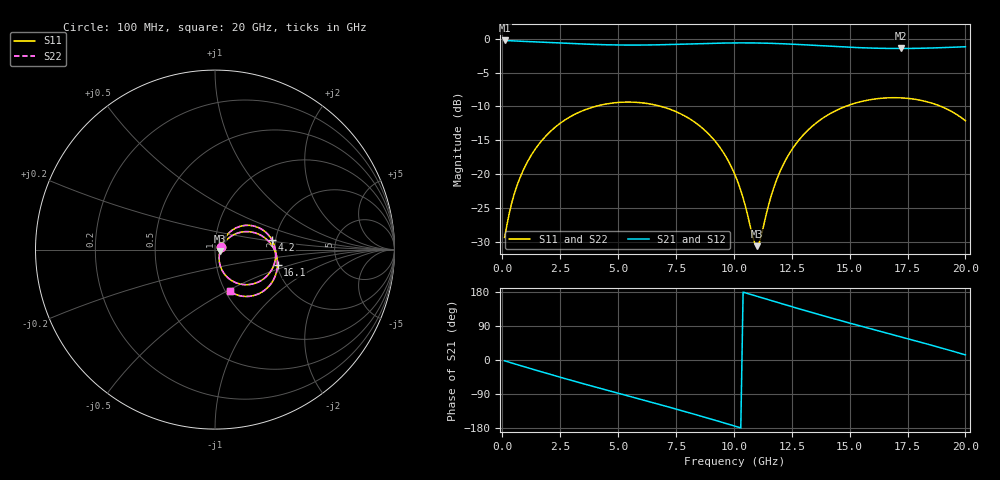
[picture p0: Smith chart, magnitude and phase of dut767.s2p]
! Touchstone file exported from HFSS 2026.1.0
!  File:  C:/ffzhzh/LocalFiles/Ansys_Project_Files/temp_train_TSV_RDL_767_1783208321_18472.aedt
!  Generated:  07:50:22 AM Jul  5, 2026
!  Design:  TSV_RDL
!  Project:  temp_train_TSV_RDL_767_1783208321_18472
! Variables:
!  h_bsmrdl = 2.51um
!  h_ox = 20um
!  h_rdl = 5um
!  h_sub = 75.7um
!  h_tmrdl = 3.51um
!  h_tsv = 75.7um
!  h_via = 3um
!  l_bsmrdl = 968.97um
!  l_sub = 5889.91um
!  l_tmrdl = 609.06um
!  m_sub = 200um
!  pitch = 35.56um
!  r_tsv = 5.4um
!  s_tmrdl = 10um
!  w_bsmrdl = 19.93um
!  w_sub = 500um
!  w_tmrdl = 28.99um
!  x_tsv_center1 = 623.555um
!  x_tsv_center2 = 1612.455um
!  x_tsv_center3 = 2250.505um
!  x_tsv_center4 = 3239.405um
!  x_tsv_center5 = 3877.455um
!  x_tsv_center6 = 4866.355um
# GHz S MA R 50.000000
! Terminal data exported
! Port[1] = TM_RDL1_1_T1
! Port[2] = TM_RDL5_1_T1
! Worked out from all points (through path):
!   200 points, 100 MHz to 20 GHz, reference 50 ohm
!   highest |S21| = -0.28 dB at 100 MHz (marker M1); lowest = -1.5 dB at 17.2 GHz (marker M2)
!   group delay of S21, straight-line fit = 48.1 ps
!   lowest |S11| = -30.6 dB at 11 GHz (marker M3), VSWR 1.06, Z = 52.9 - j0.81 ohm
!   |S11| at or under -10 dB: start of sweep to 4.009 GHz; 6.865 GHz to 14.82 GHz (7.951 GHz wide, 73.3 % of centre); 18.95 GHz to end of sweep
!   |S22| runs from -30.5 to -8.7 dB; largest |S21 - S12| = 6.9e-14
!   S11 on the Smith chart (normalised r, x): 100 MHz: 1.07, +0.03; 4.2 GHz: 1.92, +0.22; 16.1 GHz: 2.01, -0.41; 20 GHz: 1.05, -0.52
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0.1  0.03434 21.6  0.9684 -2.0  0.9684 -2.0  0.03434 21.6
! Gamma 0 0 0 0
! Port Impedance 50 0 50 0
0.6  0.07937 49.1  0.9586 -11.5  0.9586 -11.5  0.07938 49.1
1.3  0.1428 48.6  0.9479 -24.2  0.9479 -24.2  0.1428 48.6
2.3  0.2238 37.2  0.9314 -41.9  0.9314 -41.9  0.2238 37.2
3.5  0.2957 19.9  0.9118 -62.6  0.9118 -62.6  0.2957 19.9
4.2  0.3223 9.4  0.903 -74.4  0.903 -74.4  0.3223 9.4
5.5  0.3407 -10.3  0.8954 -95.9  0.8954 -95.9  0.3406 -10.3
6.8  0.3184 -30.1  0.9 -117.5  0.9 -117.5  0.3184 -30.0
8.8  0.2071 -59.9  0.9203 -152.0  0.9203 -152.0  0.207 -59.8
9.5  0.1491 -68.6  0.9263 -164.6  0.9263 -164.6  0.149 -68.4
10.1  0.09454 -72.1  0.9291 -175.5  0.9291 -175.5  0.09453 -71.9
10.9  0.03114 -32.3  0.9281 169.9  0.9281 169.9  0.03147 -31.9
11  0.02962 -15.0  0.9276 168.0  0.9276 168.0  0.03002 -14.7
11.7  0.07752 39.3  0.9214 155.2  0.9214 155.2  0.0778 39.0
12.1  0.1149 39.9  0.9161 148.0  0.9161 148.0  0.1152 39.7
13.4  0.2274 25.4  0.8928 124.8  0.8928 124.8  0.2275 25.3
14.7  0.3106 6.5  0.8679 102.5  0.8679 102.5  0.3107 6.5
16.1  0.3592 -14.1  0.8495 79.2  0.8495 79.2  0.3593 -14.2
16.7  0.3664 -22.9  0.8459 69.4  0.8459 69.4  0.3664 -23.0
17.2  0.366 -30.2  0.845 61.2  0.845 61.2  0.366 -30.3
18.6  0.3327 -50.6  0.8529 37.9  0.8529 37.9  0.3326 -50.7
20  0.2482 -69.8  0.8706 13.5  0.8706 13.5  0.2481 -69.9
